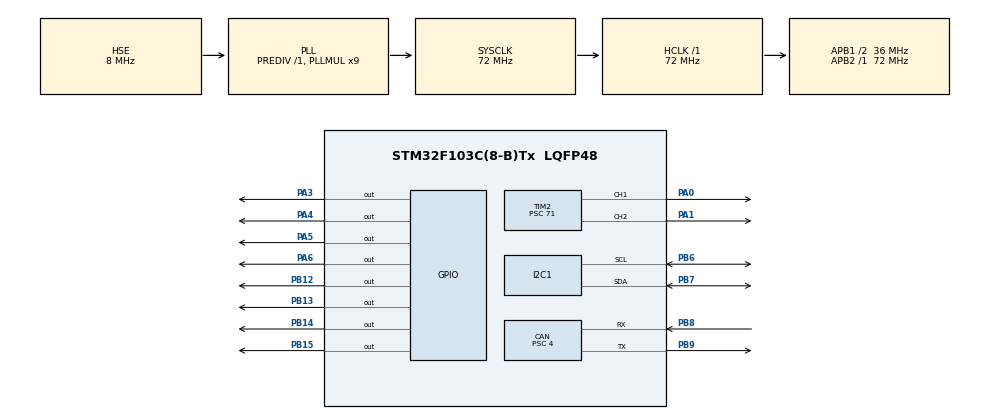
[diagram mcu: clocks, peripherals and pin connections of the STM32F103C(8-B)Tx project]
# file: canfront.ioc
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CAN.ABOM=ENABLE
CAN.BS1=CAN_BS1_14TQ
CAN.BS2=CAN_BS2_3TQ
CAN.CalculateBaudRate=500000
CAN.CalculateTimeBit=2000
CAN.CalculateTimeQuantum=111.11111111111111
CAN.NART=ENABLE
CAN.Prescaler=4
Mcu.Family=STM32F1
Mcu.Name=STM32F103C(8-B)Tx
Mcu.Package=LQFP48
NVIC.CAN1_RX1_IRQn=true\:0\:0\:false\:false\:true\:true\:true\:true
NVIC.PriorityGroup=NVIC_PRIORITYGROUP_4
NVIC.USB_HP_CAN1_TX_IRQn=true\:0\:0\:false\:false\:true\:true\:true\:true
NVIC.USB_LP_CAN1_RX0_IRQn=true\:0\:0\:false\:false\:true\:true\:true\:true
PA0-WKUP.Signal=S_TIM2_CH1_ETR
PA1.Signal=S_TIM2_CH2
PA13.Mode=Serial_Wire
PA13.Signal=SYS_JTMS-SWDIO
PA14.Mode=Serial_Wire
PA14.Signal=SYS_JTCK-SWCLK
PA3.Signal=GPIO_Output
PA4.Signal=GPIO_Output
PA5.Signal=GPIO_Output
PA6.Signal=GPIO_Output
PB12.Signal=GPIO_Output
PB13.Signal=GPIO_Output
PB14.Signal=GPIO_Output
PB15.Signal=GPIO_Output
PB6.Mode=I2C
PB6.Signal=I2C1_SCL
PB7.Mode=I2C
PB7.Signal=I2C1_SDA
PB8.Mode=CAN_Activate
PB8.Signal=CAN_RX
PB9.Mode=CAN_Activate
PB9.Signal=CAN_TX
PD0-OSC_IN.Mode=HSE-External-Oscillator
PD0-OSC_IN.Signal=RCC_OSC_IN
PD1-OSC_OUT.Mode=HSE-External-Oscillator
PD1-OSC_OUT.Signal=RCC_OSC_OUT
ProjectManager.HeapSize=0x200
ProjectManager.StackSize=0x400
ProjectManager.TargetToolchain=STM32CubeIDE
RCC.AHBFreq_Value=72000000
RCC.APB1CLKDivider=RCC_HCLK_DIV2
RCC.APB1Freq_Value=36000000
RCC.APB1TimFreq_Value=72000000
RCC.APB2Freq_Value=72000000
RCC.APB2TimFreq_Value=72000000
RCC.HCLKFreq_Value=72000000
RCC.PLLMUL=RCC_PLL_MUL9
RCC.PLLSourceVirtual=RCC_PLLSOURCE_HSE
RCC.SYSCLKFreq_VALUE=72000000
RCC.SYSCLKSource=RCC_SYSCLKSOURCE_PLLCLK
RCC.USBFreq_Value=72000000
SH.S_TIM2_CH1_ETR.0=TIM2_CH1,PWM Generation1 CH1
SH.S_TIM2_CH2.0=TIM2_CH2,PWM Generation2 CH2
TIM2.Channel-PWM\ Generation1\ CH1=TIM_CHANNEL_1
TIM2.Channel-PWM\ Generation2\ CH2=TIM_CHANNEL_2
TIM2.Period=19999
TIM2.Prescaler=71
board=custom

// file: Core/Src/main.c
/* USER CODE BEGIN Header */
/**
  ******************************************************************************
  * @file           : main.c
  * @brief          : Main program body
  ******************************************************************************
  * @attention
  *
  * Copyright (c) 2026 STMicroelectronics.
  * All rights reserved.
  *
  * This software is licensed under terms that can be found in the LICENSE file
  * in the root directory of this software component.
  * If no LICENSE file comes with this software, it is provided AS-IS.
  *
  ******************************************************************************
  */
/* USER CODE END Header */
#include "main.h"

/* USER CODE BEGIN Includes */
#include "front_seat_app.h"
/* USER CODE END Includes */

CAN_HandleTypeDef hcan;

I2C_HandleTypeDef hi2c1;

TIM_HandleTypeDef htim2;

/* USER CODE BEGIN PV */
/* 애플리케이션 상태는 front_seat_app.c에서 관리한다. */
/* USER CODE END PV */

void SystemClock_Config(void);
static void MX_GPIO_Init(void);
static void MX_CAN_Init(void);
static void MX_TIM2_Init(void);
static void MX_I2C1_Init(void);

/* USER CODE BEGIN 0 */

/* ===============================
 * INA226 Continuous Current Test
 * =============================== */

#define INA226_TEST_ADDR_DRIVER       (0x40U << 1)
#define INA226_TEST_ADDR_PASSENGER    (0x41U << 1)

#define INA226_REG_SHUNT_V            0x01U
#define INA226_REG_BUS_V              0x02U
#define INA226_RSHUNT_OHM             0.1f

#define INA226_TEST_INTERVAL_MS       20U

typedef struct
{
    uint8_t valid;

    float shunt_mV;
    float bus_V;
    float current_A;

    float current_max_A;
    float current_min_A;
    float current_avg_A;
    float current_sum_A;

    float bus_min_V;

    uint32_t sample_count;
} Ina226TestData_t;

/* Watch 창에서 볼 변수 */
Ina226TestData_t ina226_driver_test;
Ina226TestData_t ina226_passenger_test;

/* Watch 창에서 1로 바꾸면 측정값 초기화됨 */
volatile uint8_t ina226_test_reset = 0U;

static uint32_t ina226_test_last_tick = 0U;

static void INA226_TestResetOne(Ina226TestData_t *d)
{
    d->valid = 0U;

    d->shunt_mV = 0.0f;
    d->bus_V = 0.0f;
    d->current_A = 0.0f;

    d->current_max_A = 0.0f;
    d->current_min_A = 99.0f;
    d->current_avg_A = 0.0f;
    d->current_sum_A = 0.0f;

    d->bus_min_V = 99.0f;

    d->sample_count = 0U;
}

static HAL_StatusTypeDef INA226_TestReadReg(uint16_t dev_addr,
                                            uint8_t reg_addr,
                                            uint16_t *value)
{
    uint8_t buf[2];

    if (value == 0)
    {
        return HAL_ERROR;
    }

    if (HAL_I2C_Mem_Read(&hi2c1,
                         dev_addr,
                         reg_addr,
                         I2C_MEMADD_SIZE_8BIT,
                         buf,
                         2U,
                         10U) != HAL_OK)
    {
        return HAL_ERROR;
    }

    *value = ((uint16_t)buf[0] << 8) | buf[1];
    return HAL_OK;
}

static void INA226_TestUpdateOne(uint16_t dev_addr, Ina226TestData_t *d)
{
    uint16_t raw_shunt;
    uint16_t raw_bus;
    int16_t signed_shunt;

    if (INA226_TestReadReg(dev_addr, INA226_REG_SHUNT_V, &raw_shunt) != HAL_OK)
    {
        d->valid = 0U;
        return;
    }

    if (INA226_TestReadReg(dev_addr, INA226_REG_BUS_V, &raw_bus) != HAL_OK)
    {
        d->valid = 0U;
        return;
    }

    signed_shunt = (int16_t)raw_shunt;

    d->shunt_mV = (float)signed_shunt * 0.0025f;
    d->bus_V = (float)raw_bus * 0.00125f;

    d->current_A = (d->shunt_mV / 1000.0f) / INA226_RSHUNT_OHM;

    if (d->current_A < 0.0f)
    {
        d->current_A = -d->current_A;
    }

    d->valid = 1U;

    d->sample_count++;
    d->current_sum_A += d->current_A;
    d->current_avg_A = d->current_sum_A / (float)d->sample_count;

    if (d->current_A > d->current_max_A)
    {
        d->current_max_A = d->current_A;
    }

    if (d->current_A < d->current_min_A)
    {
        d->current_min_A = d->current_A;
    }

    if (d->bus_V < d->bus_min_V)
    {
        d->bus_min_V = d->bus_V;
    }
}

static void INA226_CurrentTest_Process(void)
{
    uint32_t now = HAL_GetTick();

    if (ina226_test_reset != 0U)
    {
        ina226_test_reset = 0U;
        INA226_TestResetOne(&ina226_driver_test);
        INA226_TestResetOne(&ina226_passenger_test);
    }

    if ((now - ina226_test_last_tick) < INA226_TEST_INTERVAL_MS)
    {
        return;
    }

    ina226_test_last_tick = now;

    INA226_TestUpdateOne(INA226_TEST_ADDR_DRIVER, &ina226_driver_test);
    INA226_TestUpdateOne(INA226_TEST_ADDR_PASSENGER, &ina226_passenger_test);
}

/* USER CODE END 0 */

int main(void)
{

  /* MCU Configuration--------------------------------------------------------*/

  /* Reset of all peripherals, Initializes the Flash interface and the Systick. */
  HAL_Init();

  /* Configure the system clock */
  SystemClock_Config();

  /* Initialize all configured peripherals */
  MX_GPIO_Init();
  MX_CAN_Init();
  MX_TIM2_Init();
  MX_I2C1_Init();
  /* USER CODE BEGIN 2 */
  FrontSeatApp_Init(&hi2c1);
  /* USER CODE END 2 */

  /* Infinite loop */
  while (1)
  {

    /* USER CODE BEGIN 3 */
    FrontSeatApp_Process();

    /* 실제 끼임 복구 동작 테스트할 때는 측정용 I2C 읽기를 끈다. */
    // INA226_CurrentTest_Process();
  }
  /* USER CODE END 3 */
}

void SystemClock_Config(void)
{
  RCC_OscInitTypeDef RCC_OscInitStruct = {0};
  RCC_ClkInitTypeDef RCC_ClkInitStruct = {0};

  /** Initializes the RCC Oscillators according to the specified parameters
  * in the RCC_OscInitTypeDef structure.
  */
  RCC_OscInitStruct.OscillatorType = RCC_OSCILLATORTYPE_HSE;
  RCC_OscInitStruct.HSEState = RCC_HSE_ON;
  RCC_OscInitStruct.HSEPredivValue = RCC_HSE_PREDIV_DIV1;
  RCC_OscInitStruct.HSIState = RCC_HSI_ON;
  RCC_OscInitStruct.PLL.PLLState = RCC_PLL_ON;
  RCC_OscInitStruct.PLL.PLLSource = RCC_PLLSOURCE_HSE;
  RCC_OscInitStruct.PLL.PLLMUL = RCC_PLL_MUL9;
  if (HAL_RCC_OscConfig(&RCC_OscInitStruct) != HAL_OK)
  {
    Error_Handler();
  }

  /** Initializes the CPU, AHB and APB buses clocks
  */
  RCC_ClkInitStruct.ClockType = RCC_CLOCKTYPE_HCLK|RCC_CLOCKTYPE_SYSCLK
                              |RCC_CLOCKTYPE_PCLK1|RCC_CLOCKTYPE_PCLK2;
  RCC_ClkInitStruct.SYSCLKSource = RCC_SYSCLKSOURCE_PLLCLK;
  RCC_ClkInitStruct.AHBCLKDivider = RCC_SYSCLK_DIV1;
  RCC_ClkInitStruct.APB1CLKDivider = RCC_HCLK_DIV2;
  RCC_ClkInitStruct.APB2CLKDivider = RCC_HCLK_DIV1;

  if (HAL_RCC_ClockConfig(&RCC_ClkInitStruct, FLASH_LATENCY_2) != HAL_OK)
  {
    Error_Handler();
  }
}

static void MX_CAN_Init(void)
{

  hcan.Instance = CAN1;
  hcan.Init.Prescaler = 4;
  hcan.Init.Mode = CAN_MODE_NORMAL;
  hcan.Init.SyncJumpWidth = CAN_SJW_1TQ;
  hcan.Init.TimeSeg1 = CAN_BS1_14TQ;
  hcan.Init.TimeSeg2 = CAN_BS2_3TQ;
  hcan.Init.TimeTriggeredMode = DISABLE;
  hcan.Init.AutoBusOff = ENABLE;
  hcan.Init.AutoWakeUp = DISABLE;
  hcan.Init.AutoRetransmission = ENABLE;
  hcan.Init.ReceiveFifoLocked = DISABLE;
  hcan.Init.TransmitFifoPriority = DISABLE;
  if (HAL_CAN_Init(&hcan) != HAL_OK)
  {
    Error_Handler();
  }

}

static void MX_I2C1_Init(void)
{

  hi2c1.Instance = I2C1;
  hi2c1.Init.ClockSpeed = 100000;
  hi2c1.Init.DutyCycle = I2C_DUTYCYCLE_2;
  hi2c1.Init.OwnAddress1 = 0;
  hi2c1.Init.AddressingMode = I2C_ADDRESSINGMODE_7BIT;
  hi2c1.Init.DualAddressMode = I2C_DUALADDRESS_DISABLE;
  hi2c1.Init.OwnAddress2 = 0;
  hi2c1.Init.GeneralCallMode = I2C_GENERALCALL_DISABLE;
  hi2c1.Init.NoStretchMode = I2C_NOSTRETCH_DISABLE;
  if (HAL_I2C_Init(&hi2c1) != HAL_OK)
  {
    Error_Handler();
  }

}

static void MX_TIM2_Init(void)
{

  TIM_MasterConfigTypeDef sMasterConfig = {0};
  TIM_OC_InitTypeDef sConfigOC = {0};

  htim2.Instance = TIM2;
  htim2.Init.Prescaler = 71;
  htim2.Init.CounterMode = TIM_COUNTERMODE_UP;
  htim2.Init.Period = 19999;
  htim2.Init.ClockDivision = TIM_CLOCKDIVISION_DIV1;
  htim2.Init.AutoReloadPreload = TIM_AUTORELOAD_PRELOAD_DISABLE;
  if (HAL_TIM_PWM_Init(&htim2) != HAL_OK)
  {
    Error_Handler();
  }
  sMasterConfig.MasterOutputTrigger = TIM_TRGO_RESET;
  sMasterConfig.MasterSlaveMode = TIM_MASTERSLAVEMODE_DISABLE;
  if (HAL_TIMEx_MasterConfigSynchronization(&htim2, &sMasterConfig) != HAL_OK)
  {
    Error_Handler();
  }
  sConfigOC.OCMode = TIM_OCMODE_PWM1;
  sConfigOC.Pulse = 0;
  sConfigOC.OCPolarity = TIM_OCPOLARITY_HIGH;
  sConfigOC.OCFastMode = TIM_OCFAST_DISABLE;
  if (HAL_TIM_PWM_ConfigChannel(&htim2, &sConfigOC, TIM_CHANNEL_1) != HAL_OK)
  {
    Error_Handler();
  }
  if (HAL_TIM_PWM_ConfigChannel(&htim2, &sConfigOC, TIM_CHANNEL_2) != HAL_OK)
  {
    Error_Handler();
  }
  HAL_TIM_MspPostInit(&htim2);

}

static void MX_GPIO_Init(void)
{
  GPIO_InitTypeDef GPIO_InitStruct = {0};

  /* GPIO Ports Clock Enable */
  __HAL_RCC_GPIOD_CLK_ENABLE();
  __HAL_RCC_GPIOA_CLK_ENABLE();
  __HAL_RCC_GPIOB_CLK_ENABLE();

  /*Configure GPIO pin Output Level */
  HAL_GPIO_WritePin(GPIOA, GPIO_PIN_3|GPIO_PIN_4|GPIO_PIN_5|GPIO_PIN_6, GPIO_PIN_RESET);

  /*Configure GPIO pin Output Level */
  HAL_GPIO_WritePin(GPIOB, GPIO_PIN_12|GPIO_PIN_13|GPIO_PIN_14|GPIO_PIN_15, GPIO_PIN_RESET);

  /*Configure GPIO pins : PA3 PA4 PA5 PA6 */
  GPIO_InitStruct.Pin = GPIO_PIN_3|GPIO_PIN_4|GPIO_PIN_5|GPIO_PIN_6;
  GPIO_InitStruct.Mode = GPIO_MODE_OUTPUT_PP;
  GPIO_InitStruct.Pull = GPIO_NOPULL;
  GPIO_InitStruct.Speed = GPIO_SPEED_FREQ_LOW;
  HAL_GPIO_Init(GPIOA, &GPIO_InitStruct);

  /*Configure GPIO pins : PB12 PB13 PB14 PB15 */
  GPIO_InitStruct.Pin = GPIO_PIN_12|GPIO_PIN_13|GPIO_PIN_14|GPIO_PIN_15;
  GPIO_InitStruct.Mode = GPIO_MODE_OUTPUT_PP;
  GPIO_InitStruct.Pull = GPIO_NOPULL;
  GPIO_InitStruct.Speed = GPIO_SPEED_FREQ_LOW;
  HAL_GPIO_Init(GPIOB, &GPIO_InitStruct);

}

void Error_Handler(void)
{
  __disable_irq();
  while (1)
  {
  }
}
